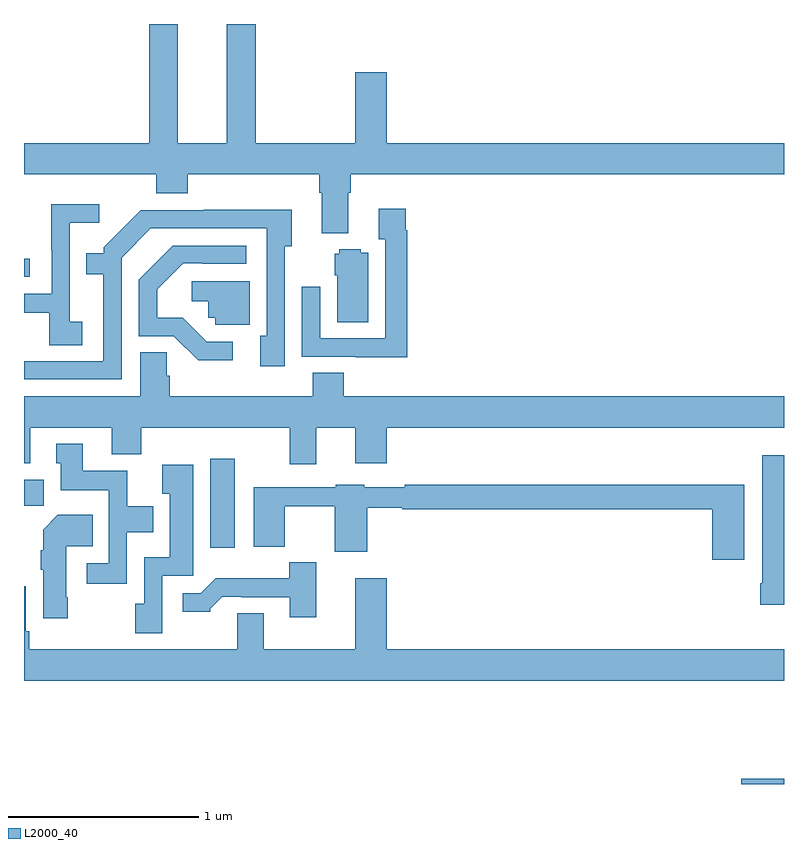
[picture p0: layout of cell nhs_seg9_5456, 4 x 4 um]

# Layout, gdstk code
import gdstk
lib = gdstk.Library(unit=1e-6, precision=1e-09)
def R(c, l, rs):  # rectangles x0, y0, x1, y1
    for r in rs: c.add(gdstk.rectangle(r[:2], r[2:], *l))
def P(c, l, *ps):  # polygons
    for p in ps: c.add(gdstk.Polygon(p, *l))
L2000_40 = (2000, 40)

nhs_seg9_5456 = lib.new_cell('nhs_seg9_5456')
R(nhs_seg9_5456, L2000_40, [(430.775,1238.5,431,1238.528), (427.979,1239.744,428.11,1240.213), (427,1239.964,427.105,1240.102), (427,1241.169,427.03,1241.265)])
P(nhs_seg9_5456, L2000_40, [(428.707,1241.612),(428.72,1241.612),(428.72,1241.708),(431,1241.708),(431,1241.872),(428.908,1241.872),(428.908,1242.247),(428.744,1242.247),(428.744,1241.872),(428.219,1241.872),(428.219,1242.5),(428.066,1242.5),(428.066,1241.872),(427.81,1241.872),(427.81,1242.5),(427.658,1242.5),(427.658,1241.872),(427,1241.872),(427,1241.708),(427.697,1241.708),(427.697,1241.609),(427.862,1241.609),(427.862,1241.708),(428.555,1241.708),(428.555,1241.612),(428.567,1241.612),(428.567,1241.399),(428.707,1241.399)],
  [(427.306,1240.932),(427.242,1240.932),(427.242,1241.453),(427.396,1241.453),(427.396,1241.551),(427.144,1241.551),(427.144,1241.312),(427.146,1241.312),(427.146,1241.079),(427,1241.079),(427,1240.981),(427.134,1240.981),(427.134,1240.81),(427.306,1240.81)],
  [(429.017,1241.414),(429.01,1241.414),(429.01,1241.527),(428.867,1241.527),(428.867,1241.366),(428.901,1241.366),(428.901,1240.845),(428.559,1240.845),(428.559,1241.116),(428.463,1241.116),(428.463,1240.749),(428.747,1240.749),(428.747,1240.745),(429.017,1240.745)],
  [(427.515,1241.271),(427.668,1241.424),(428.277,1241.424),(428.277,1240.858),(428.243,1240.858),(428.243,1240.698),(428.373,1240.698),(428.373,1241.33),(428.41,1241.33),(428.41,1241.522),(427.945,1241.522),(427.945,1241.52),(427.614,1241.52),(427.419,1241.325),(427.419,1241.293),(427.327,1241.293),(427.327,1241.184),(427.418,1241.184),(427.418,1240.725),(427,1240.725),(427,1240.629),(427.515,1240.629)],
  [(428.098,1240.827),(427.962,1240.827),(427.835,1240.954),(427.702,1240.954),(427.702,1241.104),(427.839,1241.241),(427.939,1241.241),(427.939,1241.238),(428.17,1241.238),(428.17,1241.334),(427.784,1241.334),(427.605,1241.155),(427.605,1240.857),(427.788,1240.857),(427.916,1240.73),(428.098,1240.73)],
  [(428.812,1241.296),(428.772,1241.296),(428.772,1241.314),(428.658,1241.314),(428.658,1241.292),(428.636,1241.292),(428.636,1241.178),(428.648,1241.178),(428.648,1240.93),(428.812,1240.93)],
  [(428.188,1241.145),(427.884,1241.145),(427.884,1241.042),(427.971,1241.042),(427.971,1240.953),(428.007,1240.953),(428.007,1240.917),(428.188,1240.917)],
  [(428.539,1240.376),(428.744,1240.376),(428.744,1240.188),(428.908,1240.188),(428.908,1240.376),(431,1240.376),(431,1240.54),(428.684,1240.54),(428.684,1240.664),(428.519,1240.664),(428.519,1240.54),(427.766,1240.54),(427.766,1240.65),(427.751,1240.65),(427.751,1240.772),(427.613,1240.772),(427.613,1240.54),(427,1240.54),(427,1240.187),(427.033,1240.187),(427.033,1240.376),(427.463,1240.376),(427.463,1240.235),(427.616,1240.235),(427.616,1240.376),(428.399,1240.376),(428.399,1240.182),(428.539,1240.182)],
  [(427.542,1239.824),(427.681,1239.824),(427.681,1239.962),(427.544,1239.962),(427.544,1240.15),(427.309,1240.15),(427.309,1240.291),(427.169,1240.291),(427.169,1240.188),(427.193,1240.188),(427.193,1240.046),(427.446,1240.046),(427.446,1239.663),(427.329,1239.663),(427.329,1239.555),(427.542,1239.555)],
  [(431,1240.231),(430.886,1240.231),(430.886,1239.556),(430.874,1239.556),(430.874,1239.444),(431,1239.444)],
  [(427.728,1239.597),(427.891,1239.597),(427.891,1240.18),(427.728,1240.18),(427.728,1240.028),(427.766,1240.028),(427.766,1239.694),(427.632,1239.694),(427.632,1239.45),(427.585,1239.45),(427.585,1239.294),(427.728,1239.294)],
  [(430.792,1240.075),(429.004,1240.075),(429.004,1240.062),(428.79,1240.062),(428.79,1240.075),(428.64,1240.075),(428.64,1240.062),(428.21,1240.062),(428.21,1239.749),(428.372,1239.749),(428.372,1239.961),(428.636,1239.961),(428.636,1239.723),(428.807,1239.723),(428.807,1239.954),(428.99,1239.954),(428.99,1239.946),(430.622,1239.946),(430.622,1239.681),(430.792,1239.681)],
  [(427.23,1239.484),(427.222,1239.484),(427.222,1239.752),(427.361,1239.752),(427.361,1239.916),(427.178,1239.916),(427.1,1239.838),(427.1,1239.731),(427.088,1239.731),(427.088,1239.628),(427.1,1239.628),(427.1,1239.372),(427.23,1239.372)],
  [(428.539,1239.667),(428.397,1239.667),(428.397,1239.583),(428.008,1239.583),(427.929,1239.504),(427.836,1239.504),(427.836,1239.407),(427.98,1239.407),(427.98,1239.422),(428.044,1239.486),(428.143,1239.486),(428.143,1239.483),(428.399,1239.483),(428.399,1239.378),(428.539,1239.378)],
  [(431,1239.208),(428.908,1239.208),(428.908,1239.583),(428.744,1239.583),(428.744,1239.208),(428.263,1239.208),(428.263,1239.398),(428.123,1239.398),(428.123,1239.208),(427.028,1239.208),(427.028,1239.304),(427.008,1239.304),(427.008,1239.541),(427,1239.541),(427,1239.044),(431,1239.044)])

lib.write_gds('nhs_seg9_5456.gds')
